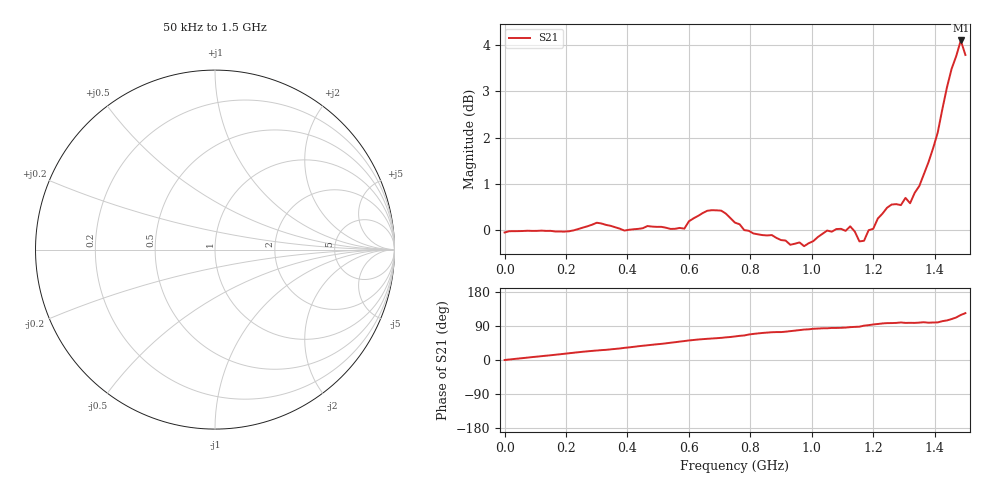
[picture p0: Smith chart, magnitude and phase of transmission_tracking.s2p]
! Created with skrf 1.8.0 (http://scikit-rf.org).
# Hz S RI R 50.0
!freq ReS11 ImS11 ReS21 ImS21 ReS12 ImS12 ReS22 ImS22
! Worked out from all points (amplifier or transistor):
!   101 points, 50 kHz to 1.5 GHz, reference 50 ohm
!   highest |S21| = 4.1 dB at 1.485 GHz (marker M1)
!   |S21| within 3 dB of that: 1.358 GHz to end of sweep
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50000  0 0  0.9947 -0.00167  0 0  0 0
2.550415e8  0 0  0.9351 0.3734  0 0  0 0
3.30039e8  0 0  0.9046 0.4575  0 0  0 0
5.10033e8  0 0  0.743 0.6823  0 0  0 0
6.60028e8  0 0  0.5884 0.8695  0 0  0 0
7.50025e8  0 0  0.4759 0.9014  0 0  0 0
8.250225e8  0 0  0.3353 0.9316  0 0  0 0
9.0002e8  0 0  0.274 0.9369  0 0  0 0
1.005016e9  0 0  0.1281 0.9652  0 0  0 0
1.125012e9  0 0  0.0575 1.008  0 0  0 0
1.155012e9  0 0  0.0354 0.9723  0 0  0 0
1.230009e9  0 0  -0.1178 1.036  0 0  0 0
1.260008e9  0 0  -0.1387 1.057  0 0  0 0
1.290007e9  0 0  -0.1674 1.051  0 0  0 0
1.320006e9  0 0  -0.151 1.059  0 0  0 0
1.365004e9  0 0  -0.1919 1.134  0 0  0 0
1.380004e9  0 0  -0.1728 1.172  0 0  0 0
1.410003e9  0 0  -0.2055 1.259  0 0  0 0
1.455002e9  0 0  -0.4606 1.421  0 0  0 0
1.470001e9  0 0  -0.5829 1.427  0 0  0 0
1.485e9  0 0  -0.7727 1.404  0 0  0 0
1.5e9  0 0  -0.8576 1.287  0 0  0 0
